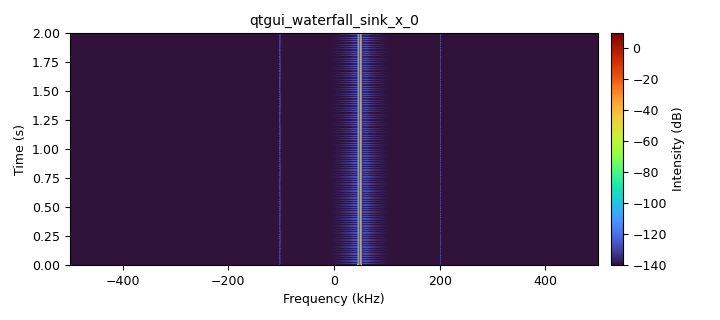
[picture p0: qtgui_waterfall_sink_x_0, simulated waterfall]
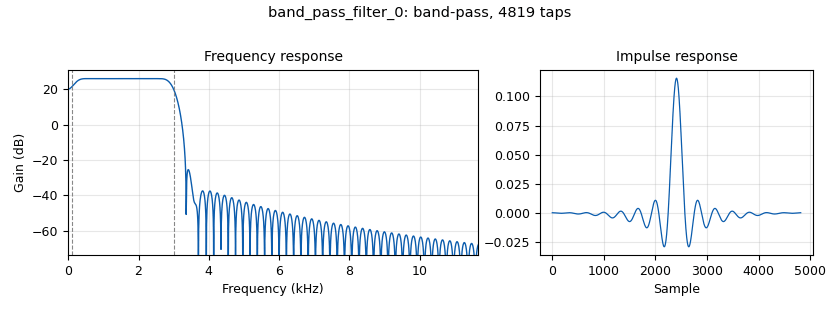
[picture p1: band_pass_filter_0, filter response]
options:
  parameters:
    author: EaVF
    generate_options: qt_gui
    id: amtx
    output_language: python
    title: AM TX
  states: {}

blocks:
- name: audio_freq
  id: variable_qtgui_range
  parameters:
    label: Audio Frequency
    rangeType: int
    start: '100'
    step: '50'
    stop: '3000'
    value: '250'
  states: {}
- name: bb_gain
  id: variable_qtgui_range
  parameters:
    label: Baseband Gain
    rangeType: int
    start: '0'
    step: '1'
    stop: '25'
    value: '2'
  states: {}
- name: if_gain
  id: variable_qtgui_range
  parameters:
    label: IF Gain
    rangeType: int
    start: '0'
    step: '1'
    stop: '25'
    value: '20'
  states: {}
- name: rf_gain
  id: variable_qtgui_range
  parameters:
    label: RF Gain
    rangeType: int
    start: '0'
    step: '1'
    stop: '25'
    value: '12'
  states: {}
- name: samp_rate
  id: variable
  parameters:
    value: 1e6
  states: {}
- name: samp_rate_sdr
  id: variable
  parameters:
    value: 3e6
  states: {}
- name: sig_amp
  id: variable_qtgui_range
  parameters:
    label: Signal Source level
    start: '0'
    step: '0.1'
    stop: '2'
    value: '0.1'
  states: {}
- name: tx_freq
  id: variable_qtgui_entry
  parameters:
    label: TX Frequency (MHz)
    type: real
    value: '435'
  states: {}
- name: analog_sig_source_x_0
  id: analog_sig_source_x
  parameters:
    amp: sig_amp
    freq: audio_freq
    offset: '0'
    phase: '0'
    samp_rate: samp_rate
    type: complex
    waveform: analog.GR_COS_WAVE
  states: {}
- name: analog_sig_source_x_0_0
  id: analog_sig_source_x
  parameters:
    amp: '0.5'
    freq: 48e3
    offset: '0'
    phase: '0'
    samp_rate: samp_rate
    type: complex
    waveform: analog.GR_COS_WAVE
  states: {}
- name: band_pass_filter_0
  id: band_pass_filter
  parameters:
    decim: '1'
    gain: '20'
    high_cutoff_freq: '3000'
    low_cutoff_freq: '100'
    samp_rate: samp_rate
    type: fir_filter_ccf
    width: '500'
    win: window.WIN_HAMMING
  states: {}
- name: blocks_add_const_vxx_0
  id: blocks_add_const_vxx
  parameters:
    const: '1'
    type: complex
  states: {}
- name: blocks_multiply_xx_0
  id: blocks_multiply_xx
  parameters:
    type: complex
  states: {}
- name: mmse_resampler_xx_0
  id: mmse_resampler_xx
  parameters:
    phase_shift: '0'
    resamp_ratio: samp_rate/samp_rate_sdr
    type: complex
  states: {}
- name: osmosdr_sink_0
  id: osmosdr_sink
  parameters:
    args: hackrf=708061dc211a5a4b
    bb_gain0: bb_gain
    freq0: tx_freq*1e6
    gain0: rf_gain
    if_gain0: if_gain
    sample_rate: samp_rate_sdr
    sync: sync
    type: fc32
  states: {state: disabled}
- name: qtgui_waterfall_sink_x_0
  id: qtgui_waterfall_sink_x
  parameters:
    bw: samp_rate
    fc: '0'
    fftsize: '4096'
    type: complex
  states: {}
- name: soapy_hackrf_sink_0
  id: soapy_hackrf_sink
  parameters:
    center_freq: tx_freq
    samp_rate: samp_rate
    type: fc32
  states: {}

connections:
- [analog_sig_source_x_0, '0', band_pass_filter_0, '0']
- [analog_sig_source_x_0_0, '0', blocks_multiply_xx_0, '1']
- [band_pass_filter_0, '0', blocks_add_const_vxx_0, '0']
- [blocks_add_const_vxx_0, '0', blocks_multiply_xx_0, '0']
- [blocks_multiply_xx_0, '0', mmse_resampler_xx_0, '0']
- [blocks_multiply_xx_0, '0', qtgui_waterfall_sink_x_0, '0']
- [mmse_resampler_xx_0, '0', soapy_hackrf_sink_0, '0']

metadata:
  file_format: 1
  grc_version: 3.10.5.1
